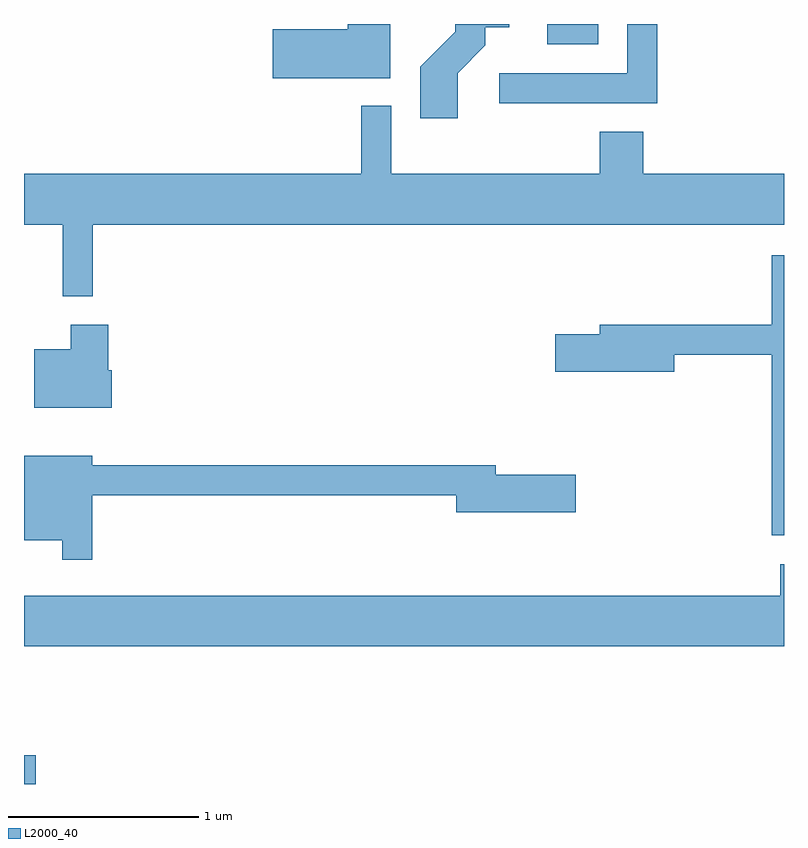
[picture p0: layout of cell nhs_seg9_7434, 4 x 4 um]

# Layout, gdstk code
import gdstk
lib = gdstk.Library(unit=1e-6, precision=1e-09)
def R(c, l, rs):  # rectangles x0, y0, x1, y1
    for r in rs: c.add(gdstk.rectangle(r[:2], r[2:], *l))
def P(c, l, *ps):  # polygons
    for p in ps: c.add(gdstk.Polygon(p, *l))
L2000_40 = (2000, 40)

nhs_seg9_7434 = lib.new_cell('nhs_seg9_7434')
R(nhs_seg9_7434, L2000_40, [(405.611,1984.432,405.674,1984.584), (408.366,1988.326,408.634,1988.432)])
P(nhs_seg9_7434, L2000_40, [(408.944,1988.432),(408.786,1988.432),(408.786,1988.174),(408.113,1988.174),(408.113,1988.016),(408.944,1988.016)],
  [(407.539,1988.432),(407.316,1988.432),(407.316,1988.404),(406.921,1988.404),(406.921,1988.146),(407.539,1988.146)],
  [(407.894,1988.174),(408.039,1988.319),(408.039,1988.416),(408.164,1988.416),(408.164,1988.432),(407.881,1988.432),(407.881,1988.392),(407.696,1988.207),(407.696,1987.936),(407.894,1987.936)],
  [(405.974,1987.376),(409.611,1987.376),(409.611,1987.644),(408.869,1987.644),(408.869,1987.864),(408.641,1987.864),(408.641,1987.644),(407.544,1987.644),(407.544,1988.003),(407.386,1988.003),(407.386,1987.644),(405.611,1987.644),(405.611,1987.376),(405.816,1987.376),(405.816,1986.998),(405.974,1986.998)],
  [(409.611,1987.214),(409.546,1987.214),(409.546,1986.849),(408.641,1986.849),(408.641,1986.799),(408.406,1986.799),(408.406,1986.601),(409.034,1986.601),(409.034,1986.691),(409.546,1986.691),(409.546,1985.741),(409.611,1985.741)],
  [(406.074,1986.609),(406.054,1986.609),(406.054,1986.849),(405.856,1986.849),(405.856,1986.719),(405.666,1986.719),(405.666,1986.411),(406.074,1986.411)],
  [(405.969,1985.951),(407.886,1985.951),(407.886,1985.861),(408.514,1985.861),(408.514,1986.059),(408.094,1986.059),(408.094,1986.109),(405.969,1986.109),(405.969,1986.159),(405.611,1986.159),(405.611,1985.716),(405.811,1985.716),(405.811,1985.613),(405.969,1985.613)],
  [(409.611,1985.589),(409.591,1985.589),(409.591,1985.424),(405.611,1985.424),(405.611,1985.156),(409.611,1985.156)])

lib.write_gds('nhs_seg9_7434.gds')
